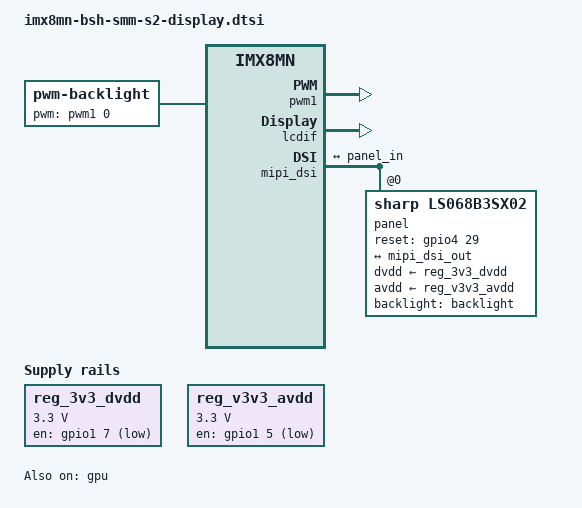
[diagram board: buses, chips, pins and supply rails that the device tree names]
// SPDX-License-Identifier: (GPL-2.0+ OR MIT)
/*
 * Copyright 2021 BSH
 */

/ {
	chosen {
		#address-cells = <2>;
		#size-cells = <2>;
		ranges;

		framebuffer-panel0 {
			compatible = "simple-framebuffer";
			clocks = <&clk IMX8MN_CLK_DISP_PIXEL_ROOT>, /* lcdif */
				 <&clk IMX8MN_CLK_DISP_APB_ROOT>,
				 <&clk IMX8MN_CLK_DISP_AXI_ROOT>,
				 <&clk IMX8MN_VIDEO_PLL1>,
				 <&clk IMX8MN_CLK_DISP_AXI_ROOT>, /* pgc_dispmix */
				 <&clk IMX8MN_CLK_DISP_APB_ROOT>,
				 <&clk IMX8MN_CLK_DISP_AXI>,
				 <&clk IMX8MN_CLK_DISP_APB>,
				 <&clk IMX8MN_SYS_PLL2_1000M>,
				 <&clk IMX8MN_SYS_PLL1_800M>,
				 <&clk IMX8MN_CLK_DSI_CORE>, /* mipi_disi */
				 <&clk IMX8MN_CLK_DSI_PHY_REF>;

			power-domains = <&disp_blk_ctrl IMX8MN_DISPBLK_PD_LCDIF>,
					<&disp_blk_ctrl IMX8MN_DISPBLK_PD_MIPI_DSI>;
			dvdd-supply = <&reg_3v3_dvdd>;
			avdd-supply = <&reg_v3v3_avdd>;
			status = "disabled";
		};
	};

	backlight: backlight {
		compatible = "pwm-backlight";
		pwms = <&pwm1 0 700000 0>;	/* 700000 ns = 1337Hz */
		brightness-levels = <0 100>;
		num-interpolated-steps = <100>;
		default-brightness-level = <50>;
		status = "okay";
	};

	reg_3v3_dvdd: regulator-3v3-O3 {
		compatible = "regulator-fixed";
		pinctrl-names = "default";
		pinctrl-0 = <&pinctrl_dvdd>;
		regulator-name = "3v3-dvdd-supply";
		regulator-min-microvolt = <3300000>;
		regulator-max-microvolt = <3300000>;
		gpio = <&gpio1 7 GPIO_ACTIVE_LOW>;
	};

	reg_v3v3_avdd: regulator-3v3-O2 {
		compatible = "regulator-fixed";
		pinctrl-names = "default";
		pinctrl-0 = <&pinctrl_avdd>;
		regulator-name = "3v3-avdd-supply";
		regulator-min-microvolt = <3300000>;
		regulator-max-microvolt = <3300000>;
		gpio = <&gpio1 5 GPIO_ACTIVE_LOW>;
	};
};

&pwm1 {
	pinctrl-names = "default";
	pinctrl-0 = <&pinctrl_bl>;
	status = "okay";
};

&lcdif {
	assigned-clocks = <&clk IMX8MN_VIDEO_PLL1>;
	assigned-clock-rates = <594000000>;
	status = "okay";
};

&pgc_dispmix {
	assigned-clocks = <&clk IMX8MN_CLK_DISP_AXI>, <&clk IMX8MN_CLK_DISP_APB>;
	assigned-clock-parents = <&clk IMX8MN_SYS_PLL2_1000M>, <&clk IMX8MN_SYS_PLL1_800M>;
	assigned-clock-rates = <500000000>, <200000000>;
};

&mipi_dsi {
	#address-cells = <1>;
	#size-cells = <0>;
	samsung,esc-clock-frequency = <20000000>;
	samsung,pll-clock-frequency = <12000000>;
	status = "okay";

	panel@0 {
		compatible = "sharp,ls068b3sx02", "syna,r63353";
		pinctrl-names = "default";
		pinctrl-0 = <&pinctrl_panel>;
		reg = <0>;

		backlight = <&backlight>;
		dvdd-supply = <&reg_3v3_dvdd>;
		avdd-supply = <&reg_v3v3_avdd>;
		reset-gpios = <&gpio4 29 GPIO_ACTIVE_HIGH>;

		port {
			panel_in: endpoint {
				remote-endpoint = <&mipi_dsi_out>;
			};
		};

	};

	ports {
		port@1 {
			reg = <1>;

			mipi_dsi_out: endpoint {
				remote-endpoint = <&panel_in>;
			};
		};
	};
};

&gpu {
	status = "okay";
};

&iomuxc {
	pinctrl_avdd: avddgrp {
		fsl,pins = <
			MX8MN_IOMUXC_GPIO1_IO05_GPIO1_IO5	0x16	/* VDD 3V3_VO2 */
		>;
	};

	/* This is for both PWM and voltage regulators for display */
	pinctrl_bl: blgrp {
		fsl,pins = <
			MX8MN_IOMUXC_GPIO1_IO01_PWM1_OUT	0x16
		>;
	};

	pinctrl_dvdd: dvddgrp {
		fsl,pins = <
			MX8MN_IOMUXC_GPIO1_IO07_GPIO1_IO7	0x16	/* VDD 3V3_VO3 */
		>;
	};

	pinctrl_panel: panelgrp {
		fsl,pins = <
			MX8MN_IOMUXC_SAI3_RXC_GPIO4_IO29	0x16	/* panel reset */
		>;
	};
};
